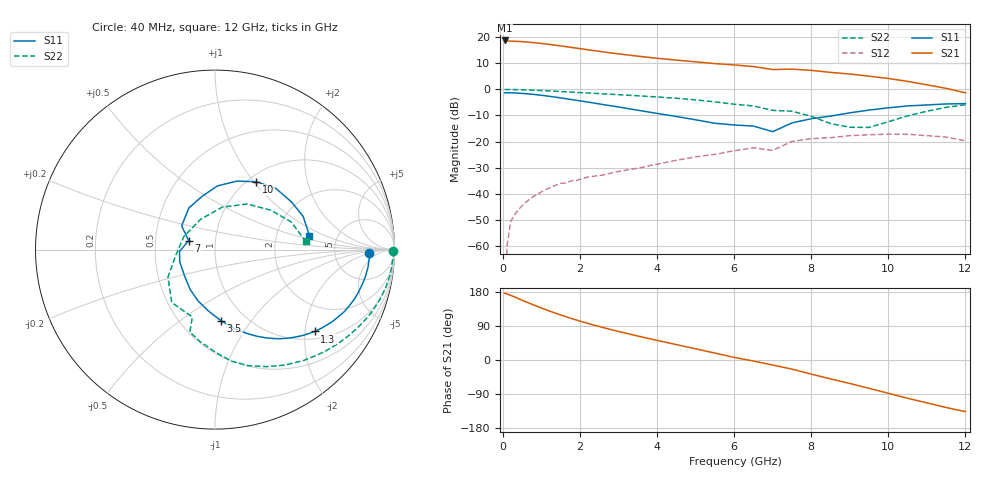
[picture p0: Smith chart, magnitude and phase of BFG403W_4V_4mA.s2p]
! Filename: 44bfg403.001
! BFG403W Field A1
! V1=8.774E-001V,V2=4.000E+000V, I1=5.474E-005A, I2=4.000E-003A
# GHz  S  MA  R 50
!  S11  S21  S12  S22
!Freq(GHz)  Mag  Ang  Mag  Ang  Mag  Ang  Mag  Ang
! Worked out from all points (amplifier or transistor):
!   44 points, 40 MHz to 12 GHz, reference 50 ohm
!   highest |S21| = 18.7 dB at 40 MHz (marker M1)
!   |S21| within 3 dB of that: start of sweep to 1.932 GHz
!   S11 on the Smith chart (normalised r, x): 40 MHz: 13, -2; 1.3 GHz: 1.19, -2.25; 3.5 GHz: 0.77, -0.73; 7 GHz: 0.74, +0.08; 10 GHz: 1.09, +1.03; 12 GHz: 3.11, +0.67
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0.04  0.857 -1.4  8.6 175.8  0 6.6  0.991 -0.5
0.1  0.861 -3.2  8.403 174.4  0.001 86.7  0.993 -1.8
0.2  0.858 -6.6  8.34 170.3  0.003 83.4  0.99 -4.1
0.5  0.834 -16.5  8.173 157.4  0.006 77.1  0.979 -10.3
0.8  0.799 -25.6  7.801 145.0  0.009 72.4  0.961 -16.3
1  0.768 -31.4  7.526 137.0  0.011 69.3  0.946 -20.1
1.3  0.719 -39.4  7.057 125.7  0.014 65.4  0.922 -25.4
1.7  0.65 -49.0  6.441 112.0  0.017 61.5  0.89 -31.9
2.2  0.57 -59.7  5.71 96.7  0.021 58.6  0.85 -39.7
2.8  0.484 -71.4  4.97 80.4  0.025 56.7  0.804 -48.6
3.5  0.398 -85.1  4.302 63.2  0.031 54.7  0.752 -58.8
4.5  0.302 -108.0  3.615 40.6  0.044 48.7  0.674 -73.8
5.5  0.224 -139.2  3.1 18.3  0.057 38.2  0.575 -89.3
6.5  0.198 -177.0  2.723 -2.8  0.076 28.4  0.48 -107.0
7  0.155 161.2  2.389 -13.3  0.068 26.9  0.396 -108.6
7.5  0.228 144.6  2.433 -24.1  0.101 16.4  0.381 -129.2
8.5  0.307 103.0  2.109 -49.9  0.119 -9.2  0.221 -171.7
9  0.355 87.8  1.961 -62.0  0.13 -19.9  0.188 157.0
10  0.443 58.6  1.611 -87.9  0.139 -46.5  0.24 80.3
10.5  0.481 45.0  1.419 -101.0  0.138 -61.2  0.311 54.8
11.5  0.525 20.6  1.044 -125.4  0.122 -89.8  0.452 19.9
12  0.532 8.3  0.857 -136.3  0.104 -106.8  0.507 5.2
